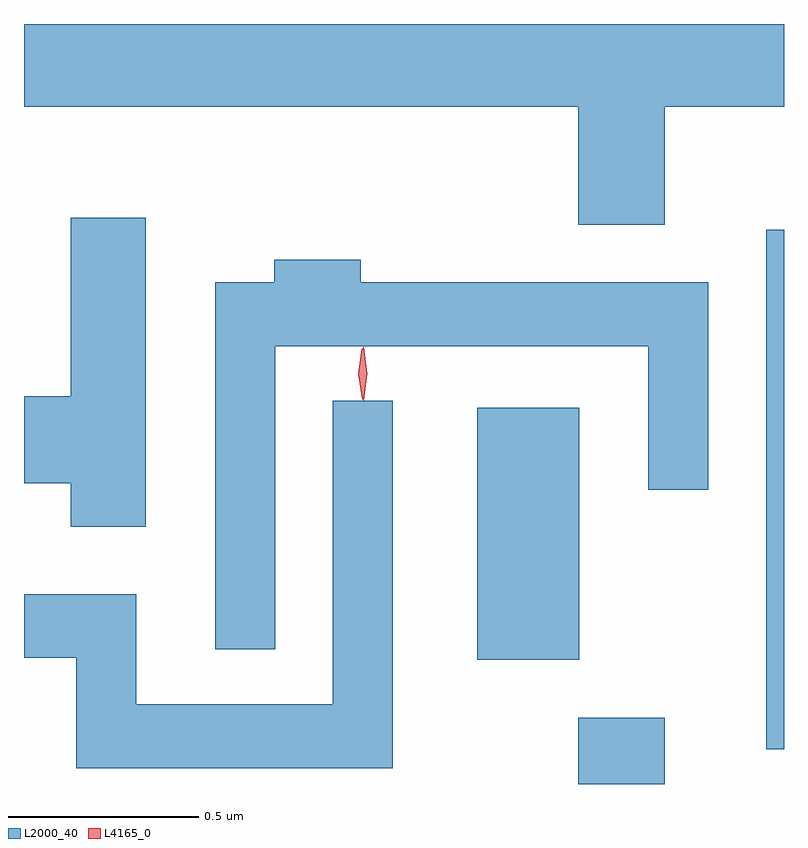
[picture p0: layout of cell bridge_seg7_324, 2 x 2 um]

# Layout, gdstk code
import gdstk
lib = gdstk.Library(unit=1e-6, precision=1e-09)
def R(c, l, rs):  # rectangles x0, y0, x1, y1
    for r in rs: c.add(gdstk.rectangle(r[:2], r[2:], *l))
def P(c, l, *ps):  # polygons
    for p in ps: c.add(gdstk.Polygon(p, *l))
L2000_40 = (2000, 40)
L4165_0 = (4165, 0)

bridge_seg7_324 = lib.new_cell('bridge_seg7_324')
R(bridge_seg7_324, L2000_40, [(1158.281,1763.594,1158.509,1763.769), (1158.776,1763.686,1158.823,1765.053), (1158.016,1763.921,1158.284,1764.584)])
P(bridge_seg7_324, L2000_40, [(1158.509,1765.376),(1158.823,1765.376),(1158.823,1765.594),(1156.823,1765.594),(1156.823,1765.376),(1158.281,1765.376),(1158.281,1765.066),(1158.509,1765.066)],
  [(1157.144,1765.084),(1156.946,1765.084),(1156.946,1764.614),(1156.823,1764.614),(1156.823,1764.386),(1156.946,1764.386),(1156.946,1764.271),(1157.144,1764.271)],
  [(1157.484,1764.746),(1158.466,1764.746),(1158.466,1764.368),(1158.624,1764.368),(1158.624,1764.914),(1157.709,1764.914),(1157.709,1764.974),(1157.481,1764.974),(1157.481,1764.914),(1157.326,1764.914),(1157.326,1763.948),(1157.484,1763.948)],
  [(1157.794,1764.603),(1157.636,1764.603),(1157.636,1763.804),(1157.119,1763.804),(1157.119,1764.094),(1156.823,1764.094),(1156.823,1763.926),(1156.961,1763.926),(1156.961,1763.636),(1157.794,1763.636)])
P(bridge_seg7_324, L4165_0, [(1157.713,1764.607),(1157.703,1764.674),(1157.712,1764.74),(1157.713,1764.74),(1157.714,1764.74),(1157.723,1764.674),(1157.714,1764.607),(1157.714,1764.607)],
  [(1157.716,1764.604),(1157.716,1764.604),(1157.706,1764.674),(1157.716,1764.743),(1157.716,1764.743),(1157.717,1764.743),(1157.726,1764.674),(1157.717,1764.604)])

lib.write_gds('bridge_seg7_324.gds')
